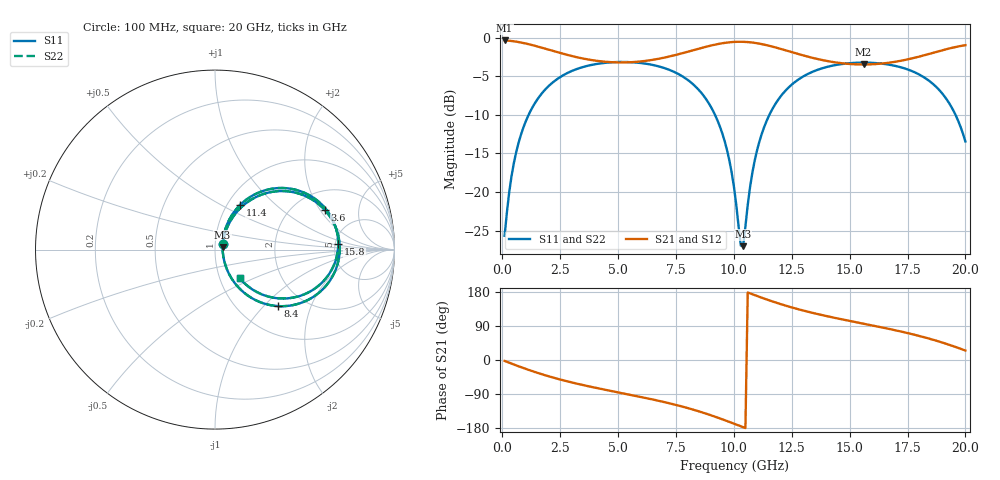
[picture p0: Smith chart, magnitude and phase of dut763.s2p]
! Touchstone file exported from HFSS 2026.1.0
!  File:  C:/ffzhzh/LocalFiles/Ansys_Project_Files/temp_train_TSV_RDL_763_1783259975_39728.aedt
!  Generated:  10:13:21 PM Jul  5, 2026
!  Design:  TSV_RDL
!  Project:  temp_train_TSV_RDL_763_1783259975_39728
! Variables:
!  h_bsmrdl = 3.88um
!  h_ox = 20um
!  h_rdl = 5um
!  h_sub = 92.07um
!  h_tmrdl = 3.75um
!  h_tsv = 92.07um
!  h_via = 3um
!  l_bsmrdl = 446.35um
!  l_sub = 5543.42um
!  l_tmrdl = 934.57um
!  m_sub = 200um
!  pitch = 58.31um
!  r_tsv = 9.84um
!  s_tmrdl = 10um
!  w_bsmrdl = 10.92um
!  w_sub = 500um
!  w_tmrdl = 11.11um
!  x_tsv_center1 = 940.125um
!  x_tsv_center2 = 1397.395um
!  x_tsv_center3 = 2343.075um
!  x_tsv_center4 = 2800.345um
!  x_tsv_center5 = 3746.025um
!  x_tsv_center6 = 4203.295um
# GHz S MA R 50.000000
! Terminal data exported
! Port[1] = TM_RDL1_1_T1
! Port[2] = TM_RDL5_1_T1
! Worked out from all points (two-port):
!   200 points, 100 MHz to 20 GHz, reference 50 ohm
!   highest |S21| = -0.38 dB at 100 MHz (marker M1); lowest = -3.5 dB at 15.6 GHz (marker M2)
!   |S21| within 3 dB of the highest: start of sweep to 14.82 GHz; 16.36 GHz to end of sweep
!   lowest |S11| = -27.0 dB at 10.4 GHz (marker M3), VSWR 1.09, Z = 54.4 + j1.58 ohm
!   |S11| at or under -10 dB: start of sweep to 1.14 GHz; 9.184 GHz to 11.54 GHz (2.354 GHz wide, 22.7 % of centre); 19.57 GHz to end of sweep
!   |S22| runs from -27.0 to -3.2 dB; largest |S21 - S12| = 1.3e-14
!   S11 on the Smith chart (normalised r, x): 100 MHz: 1.09, +0.06; 3.6 GHz: 2.92, +2.22; 8.4 GHz: 1.50, -1.21; 11.4 GHz: 1.15, +0.62; 15.8 GHz: 5.32, +0.62; 20 GHz: 1.24, -0.42
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0.1  0.05201 33.4  0.9573 -2.4  0.9573 -2.4  0.05201 33.4
! Gamma 0 0 0 0
! Port Impedance 50 0 50 0
0.5  0.154 61.6  0.9452 -11.9  0.9452 -11.9  0.154 61.6
1.1  0.3072 56.5  0.9085 -25.3  0.9085 -25.3  0.3072 56.5
2.2  0.515 39.1  0.818 -46.5  0.818 -46.5  0.515 39.1
3.5  0.6452 20.9  0.7304 -66.3  0.7304 -66.3  0.6452 20.9
3.6  0.6513 19.6  0.7256 -67.7  0.7256 -67.7  0.6513 19.6
5.2  0.695 0.6  0.6897 -87.8  0.6897 -87.8  0.695 0.6
6.8  0.6477 -18.6  0.7308 -108.3  0.7308 -108.3  0.6477 -18.6
8.4  0.4726 -41.8  0.8399 -133.8  0.8399 -133.8  0.4726 -41.8
9.5  0.2397 -58.5  0.9182 -156.4  0.9182 -156.4  0.2397 -58.6
10.1  0.08371 -51.6  0.938 -170.2  0.938 -170.2  0.08369 -51.6
10.3  0.04501 -16.1  0.9389 -174.9  0.9389 -174.9  0.04497 -16.1
10.4  0.04457 18.9  0.9382 -177.2  0.9382 -177.2  0.04452 18.9
10.8  0.1334 63.6  0.9279 173.5  0.9279 173.5  0.1334 63.6
11.4  0.2847 60.7  0.8936 160.1  0.8936 160.1  0.2847 60.7
12.2  0.4477 48.4  0.8295 144.1  0.8295 144.1  0.4477 48.5
13.4  0.6002 31.0  0.7387 124.4  0.7387 124.4  0.6002 31.0
15.6  0.6881 4.8  0.6692 95.8  0.6692 95.8  0.688 4.8
15.8  0.6874 2.6  0.6698 93.4  0.6698 93.4  0.6874 2.6
16.7  0.6673 -7.7  0.6869 82.1  0.6869 82.1  0.6672 -7.7
18.8  0.4691 -35.5  0.8109 49.9  0.8109 49.9  0.4691 -35.5
20  0.2123 -49.2  0.8919 25.0  0.8919 25.0  0.2123 -49.1
